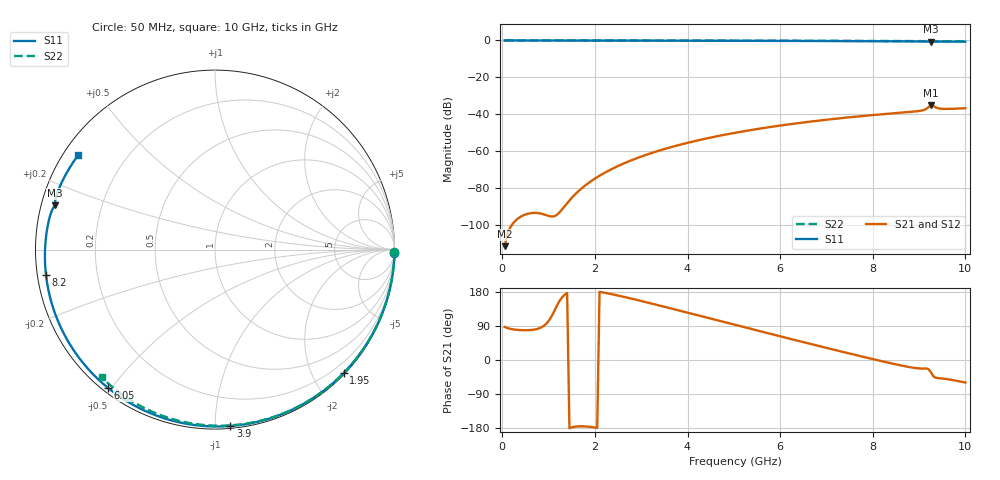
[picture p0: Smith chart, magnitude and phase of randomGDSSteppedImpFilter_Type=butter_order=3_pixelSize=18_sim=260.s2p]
! freq	dB(S11)	phase(S11)	dB(S12)	phase(S12)
!  dB(S21)	phase(S21)	dB(S22)	phase(S22)
!S-par simulation data
#  GHz  S  DB  R 50
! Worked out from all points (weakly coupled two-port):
!   200 points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, 50 MHz to 10 GHz, reference 50 ohm
!   highest |S21| = -35.11 dB at 9.25 GHz (marker M1); lowest = -111.2 dB at 50 MHz (marker M2)
!   lowest |S11| = -0.7 dB at 9.25 GHz (marker M3), VSWR 26.02, Z = 1.96 + j6.78 ohm
!   |S11| at or under -10 dB: nowhere
!   |S22| runs from -0.4 to 0.0 dB; largest |S21 - S12| = 0
!   S11 on the Smith chart (normalised r, x): 50 MHz: open; 1.95 GHz: 0.02, -2.48; 3.9 GHz: 0.01, -1.09; 6.05 GHz: 0.02, -0.49; 8.2 GHz: 0.02, -0.07; 10 GHz: 0.04, +0.31
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0.05  -0.00 -1.2  -111.22 87.2  -111.22 87.2  -0.00 -0.8
0.85  -0.02 -19.4  -93.69 86.5  -93.69 86.5  -0.02 -12.9
1.7  -0.05 -38.4  -80.26 -174.9  -80.26 -174.9  -0.03 -25.5
1.75  -0.05 -39.5  -79.21 -175.0  -79.21 -175.0  -0.03 -26.3
1.95  -0.06 -43.9  -75.51 -177.3  -75.51 -177.3  -0.04 -29.2
2.25  -0.06 -50.4  -71.00 176.5  -71.00 176.5  -0.04 -33.6
2.6  -0.07 -57.9  -66.75 167.3  -66.75 167.3  -0.05 -38.7
3.4  -0.10 -74.7  -59.46 143.6  -59.46 143.6  -0.07 -50.0
3.9  -0.12 -85.0  -55.98 128.1  -55.98 128.1  -0.08 -56.9
4.45  -0.14 -96.1  -52.77 110.8  -52.77 110.8  -0.09 -64.4
5.05  -0.17 -108.0  -49.82 92.0  -49.82 92.0  -0.11 -72.4
6.05  -0.23 -127.6  -45.84 60.9  -45.84 60.9  -0.15 -85.2
6.7  -0.28 -140.5  -43.73 41.0  -43.73 41.0  -0.18 -93.2
7.5  -0.35 -156.7  -41.53 17.0  -41.53 17.0  -0.23 -102.8
8.2  -0.43 -171.5  -39.90 -3.3  -39.90 -3.3  -0.28 -111.1
8.35  -0.44 -174.8  -39.58 -7.5  -39.58 -7.5  -0.29 -112.8
9.05  -0.55 169.1  -37.93 -22.5  -37.93 -22.5  -0.35 -120.8
9.15  -0.59 166.6  -37.09 -22.4  -37.09 -22.4  -0.37 -121.9
9.25  -0.67 164.5  -35.11 -31.2  -35.11 -31.2  -0.37 -123.0
9.4  -0.60 161.2  -36.59 -47.6  -36.59 -47.6  -0.37 -124.8
9.5  -0.60 158.6  -36.96 -48.8  -36.96 -48.8  -0.38 -125.9
10  -0.67 145.4  -36.65 -59.5  -36.65 -59.5  -0.44 -131.6
